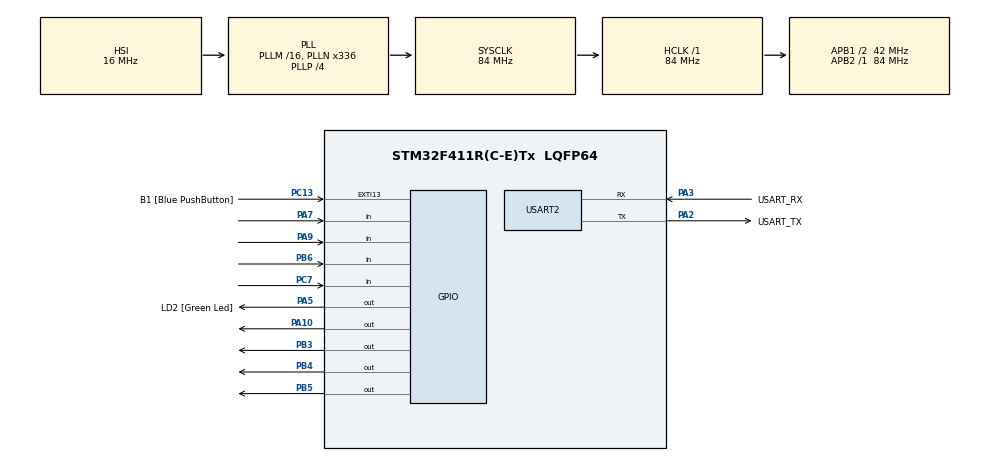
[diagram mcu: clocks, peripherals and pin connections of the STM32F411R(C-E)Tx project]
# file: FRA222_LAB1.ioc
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Mcu.Family=STM32F4
Mcu.Name=STM32F411R(C-E)Tx
Mcu.Package=LQFP64
NVIC.PriorityGroup=NVIC_PRIORITYGROUP_0
PA10.GPIO_ModeDefaultOutputPP=GPIO_MODE_OUTPUT_OD
PA10.GPIO_PuPd=GPIO_NOPULL
PA10.PinState=GPIO_PIN_SET
PA10.Signal=GPIO_Output
PA13.GPIO_Label=TMS
PA13.Mode=Serial_Wire
PA13.Signal=SYS_JTMS-SWDIO
PA14.GPIO_Label=TCK
PA14.Mode=Serial_Wire
PA14.Signal=SYS_JTCK-SWCLK
PA2.GPIO_Label=USART_TX
PA2.Mode=Asynchronous
PA2.Signal=USART2_TX
PA3.GPIO_Label=USART_RX
PA3.Mode=Asynchronous
PA3.Signal=USART2_RX
PA5.GPIO_Label=LD2 [Green Led]
PA5.Signal=GPIO_Output
PA7.GPIO_PuPd=GPIO_PULLUP
PA7.Signal=GPIO_Input
PA9.GPIO_PuPd=GPIO_PULLUP
PA9.Signal=GPIO_Input
PB3.GPIO_ModeDefaultOutputPP=GPIO_MODE_OUTPUT_OD
PB3.GPIO_PuPd=GPIO_NOPULL
PB3.PinState=GPIO_PIN_SET
PB3.Signal=GPIO_Output
PB4.GPIO_ModeDefaultOutputPP=GPIO_MODE_OUTPUT_OD
PB4.GPIO_PuPd=GPIO_NOPULL
PB4.PinState=GPIO_PIN_SET
PB4.Signal=GPIO_Output
PB5.GPIO_ModeDefaultOutputPP=GPIO_MODE_OUTPUT_OD
PB5.GPIO_PuPd=GPIO_NOPULL
PB5.PinState=GPIO_PIN_SET
PB5.Signal=GPIO_Output
PB6.GPIO_PuPd=GPIO_PULLUP
PB6.Signal=GPIO_Input
PC13-ANTI_TAMP.GPIO_Label=B1 [Blue PushButton]
PC13-ANTI_TAMP.GPIO_ModeDefaultEXTI=GPIO_MODE_IT_FALLING
PC13-ANTI_TAMP.Signal=GPXTI13
PC14-OSC32_IN.Mode=LSE-External-Oscillator
PC14-OSC32_IN.Signal=RCC_OSC32_IN
PC15-OSC32_OUT.Mode=LSE-External-Oscillator
PC15-OSC32_OUT.Signal=RCC_OSC32_OUT
PC7.GPIO_PuPd=GPIO_PULLUP
PC7.Signal=GPIO_Input
PH0\ -\ OSC_IN.Mode=HSE-External-Clock-Source
PH0\ -\ OSC_IN.Signal=RCC_OSC_IN
PH1\ -\ OSC_OUT.Mode=HSE-External-Clock-Source
PH1\ -\ OSC_OUT.Signal=RCC_OSC_OUT
ProjectManager.HeapSize=0x200
ProjectManager.StackSize=0x400
ProjectManager.TargetToolchain=STM32CubeIDE
RCC.48MHZClocksFreq_Value=84000000
RCC.AHBFreq_Value=84000000
RCC.APB1CLKDivider=RCC_HCLK_DIV2
RCC.APB1Freq_Value=42000000
RCC.APB1TimFreq_Value=84000000
RCC.APB2Freq_Value=84000000
RCC.APB2TimFreq_Value=84000000
RCC.CortexFreq_Value=84000000
RCC.FLatency-AdvancedSettings=FLASH_LATENCY_2
RCC.HCLKFreq_Value=84000000
RCC.HSE_VALUE=8000000
RCC.HSI_VALUE=16000000
RCC.PLLN=336
RCC.PLLP=RCC_PLLP_DIV4
RCC.SYSCLKFreq_VALUE=84000000
RCC.SYSCLKSource=RCC_SYSCLKSOURCE_PLLCLK
RCC.VCOOutputFreq_Value=336000000
USART2.VirtualMode=VM_ASYNC
board=NUCLEO-F411RE

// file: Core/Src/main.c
/* USER CODE BEGIN Header */
/**
  ******************************************************************************
  * @file           : main.c
  * @brief          : Main program body
  ******************************************************************************
  * @attention
  *
  * Copyright (c) 2023 STMicroelectronics.
  * All rights reserved.
  *
  * This software is licensed under terms that can be found in the LICENSE file
  * in the root directory of this software component.
  * If no LICENSE file comes with this software, it is provided AS-IS.
  *
  ******************************************************************************
  */
/* USER CODE END Header */
#include "main.h"
#include <string.h>

UART_HandleTypeDef huart2;

/* USER CODE BEGIN PV */
struct PortPin
{
	GPIO_TypeDef* PORT;
	uint16_t PIN;
};
struct PortPin R[4] =
{
	{GPIOA,GPIO_PIN_10},
	{GPIOB,GPIO_PIN_3},
	{GPIOB,GPIO_PIN_5},
	{GPIOB,GPIO_PIN_4}
};
struct PortPin L[4] =
{
	{GPIOA,GPIO_PIN_9},
	{GPIOC,GPIO_PIN_7},
	{GPIOB,GPIO_PIN_6},
	{GPIOA,GPIO_PIN_7}
};

struct _GPIOState
{
	GPIO_PinState Current;
	GPIO_PinState Last;
};

// declare variable
struct _GPIOState Button1[4];

uint16_t ButtonMatrix = 0;
char myID[] = "64340500006";
char studentID[] = "00000000000";
/* USER CODE END PV */

void SystemClock_Config(void);
static void MX_GPIO_Init(void);
static void MX_USART2_UART_Init(void);

/* USER CODE BEGIN 0 */
void ReadMatrixButton1Row();
void getNumpadInput();
void handleStudentID(char numID);
void clearStudentID();
void handleBackspace();
/* USER CODE END 0 */

int main(void)
{

  /* MCU Configuration--------------------------------------------------------*/

  /* Reset of all peripherals, Initializes the Flash interface and the Systick. */
  HAL_Init();

  /* Configure the system clock */
  SystemClock_Config();

  /* Initialize all configured peripherals */
  MX_GPIO_Init();
  MX_USART2_UART_Init();

  /* Infinite loop */
  while (1)
  {

    /* USER CODE BEGIN 3 */
	  static uint32_t timestamp = 0;
	  if(HAL_GetTick() >= timestamp)
	  {
		  timestamp = HAL_GetTick() + 50;
		  ReadMatrixButton1Row();

	  }
  }
  /* USER CODE END 3 */
}

void SystemClock_Config(void)
{
  RCC_OscInitTypeDef RCC_OscInitStruct = {0};
  RCC_ClkInitTypeDef RCC_ClkInitStruct = {0};

  /** Configure the main internal regulator output voltage
  */
  __HAL_RCC_PWR_CLK_ENABLE();
  __HAL_PWR_VOLTAGESCALING_CONFIG(PWR_REGULATOR_VOLTAGE_SCALE1);

  /** Initializes the RCC Oscillators according to the specified parameters
  * in the RCC_OscInitTypeDef structure.
  */
  RCC_OscInitStruct.OscillatorType = RCC_OSCILLATORTYPE_HSI;
  RCC_OscInitStruct.HSIState = RCC_HSI_ON;
  RCC_OscInitStruct.HSICalibrationValue = RCC_HSICALIBRATION_DEFAULT;
  RCC_OscInitStruct.PLL.PLLState = RCC_PLL_ON;
  RCC_OscInitStruct.PLL.PLLSource = RCC_PLLSOURCE_HSI;
  RCC_OscInitStruct.PLL.PLLM = 16;
  RCC_OscInitStruct.PLL.PLLN = 336;
  RCC_OscInitStruct.PLL.PLLP = RCC_PLLP_DIV4;
  RCC_OscInitStruct.PLL.PLLQ = 4;
  if (HAL_RCC_OscConfig(&RCC_OscInitStruct) != HAL_OK)
  {
    Error_Handler();
  }

  /** Initializes the CPU, AHB and APB buses clocks
  */
  RCC_ClkInitStruct.ClockType = RCC_CLOCKTYPE_HCLK|RCC_CLOCKTYPE_SYSCLK
                              |RCC_CLOCKTYPE_PCLK1|RCC_CLOCKTYPE_PCLK2;
  RCC_ClkInitStruct.SYSCLKSource = RCC_SYSCLKSOURCE_PLLCLK;
  RCC_ClkInitStruct.AHBCLKDivider = RCC_SYSCLK_DIV1;
  RCC_ClkInitStruct.APB1CLKDivider = RCC_HCLK_DIV2;
  RCC_ClkInitStruct.APB2CLKDivider = RCC_HCLK_DIV1;

  if (HAL_RCC_ClockConfig(&RCC_ClkInitStruct, FLASH_LATENCY_2) != HAL_OK)
  {
    Error_Handler();
  }
}

static void MX_USART2_UART_Init(void)
{

  huart2.Instance = USART2;
  huart2.Init.BaudRate = 115200;
  huart2.Init.WordLength = UART_WORDLENGTH_8B;
  huart2.Init.StopBits = UART_STOPBITS_1;
  huart2.Init.Parity = UART_PARITY_NONE;
  huart2.Init.Mode = UART_MODE_TX_RX;
  huart2.Init.HwFlowCtl = UART_HWCONTROL_NONE;
  huart2.Init.OverSampling = UART_OVERSAMPLING_16;
  if (HAL_UART_Init(&huart2) != HAL_OK)
  {
    Error_Handler();
  }

}

static void MX_GPIO_Init(void)
{
  GPIO_InitTypeDef GPIO_InitStruct = {0};

  /* GPIO Ports Clock Enable */
  __HAL_RCC_GPIOC_CLK_ENABLE();
  __HAL_RCC_GPIOH_CLK_ENABLE();
  __HAL_RCC_GPIOA_CLK_ENABLE();
  __HAL_RCC_GPIOB_CLK_ENABLE();

  /*Configure GPIO pin Output Level */
  HAL_GPIO_WritePin(LD2_GPIO_Port, LD2_Pin, GPIO_PIN_RESET);

  /*Configure GPIO pin Output Level */
  HAL_GPIO_WritePin(GPIOA, GPIO_PIN_10, GPIO_PIN_SET);

  /*Configure GPIO pin Output Level */
  HAL_GPIO_WritePin(GPIOB, GPIO_PIN_3|GPIO_PIN_4|GPIO_PIN_5, GPIO_PIN_SET);

  /*Configure GPIO pin : B1_Pin */
  GPIO_InitStruct.Pin = B1_Pin;
  GPIO_InitStruct.Mode = GPIO_MODE_IT_FALLING;
  GPIO_InitStruct.Pull = GPIO_NOPULL;
  HAL_GPIO_Init(B1_GPIO_Port, &GPIO_InitStruct);

  /*Configure GPIO pin : LD2_Pin */
  GPIO_InitStruct.Pin = LD2_Pin;
  GPIO_InitStruct.Mode = GPIO_MODE_OUTPUT_PP;
  GPIO_InitStruct.Pull = GPIO_NOPULL;
  GPIO_InitStruct.Speed = GPIO_SPEED_FREQ_LOW;
  HAL_GPIO_Init(LD2_GPIO_Port, &GPIO_InitStruct);

  /*Configure GPIO pins : PA7 PA9 */
  GPIO_InitStruct.Pin = GPIO_PIN_7|GPIO_PIN_9;
  GPIO_InitStruct.Mode = GPIO_MODE_INPUT;
  GPIO_InitStruct.Pull = GPIO_PULLUP;
  HAL_GPIO_Init(GPIOA, &GPIO_InitStruct);

  /*Configure GPIO pin : PC7 */
  GPIO_InitStruct.Pin = GPIO_PIN_7;
  GPIO_InitStruct.Mode = GPIO_MODE_INPUT;
  GPIO_InitStruct.Pull = GPIO_PULLUP;
  HAL_GPIO_Init(GPIOC, &GPIO_InitStruct);

  /*Configure GPIO pin : PA10 */
  GPIO_InitStruct.Pin = GPIO_PIN_10;
  GPIO_InitStruct.Mode = GPIO_MODE_OUTPUT_OD;
  GPIO_InitStruct.Pull = GPIO_NOPULL;
  GPIO_InitStruct.Speed = GPIO_SPEED_FREQ_LOW;
  HAL_GPIO_Init(GPIOA, &GPIO_InitStruct);

  /*Configure GPIO pins : PB3 PB4 PB5 */
  GPIO_InitStruct.Pin = GPIO_PIN_3|GPIO_PIN_4|GPIO_PIN_5;
  GPIO_InitStruct.Mode = GPIO_MODE_OUTPUT_OD;
  GPIO_InitStruct.Pull = GPIO_NOPULL;
  GPIO_InitStruct.Speed = GPIO_SPEED_FREQ_LOW;
  HAL_GPIO_Init(GPIOB, &GPIO_InitStruct);

  /*Configure GPIO pin : PB6 */
  GPIO_InitStruct.Pin = GPIO_PIN_6;
  GPIO_InitStruct.Mode = GPIO_MODE_INPUT;
  GPIO_InitStruct.Pull = GPIO_PULLUP;
  HAL_GPIO_Init(GPIOB, &GPIO_InitStruct);

}

/* USER CODE BEGIN 4 */
void ReadMatrixButton1Row()
{
	static uint8_t X = 0;
	register int i;
	for (i = 0; i < 4; i++)
	{
		Button1[i].Current = HAL_GPIO_ReadPin(L[i].PORT, L[i].PIN);
		if(HAL_GPIO_ReadPin(L[i].PORT, L[i].PIN) == 1)
		{
			ButtonMatrix &= ~(1<<(X*4 + i));
			//  x = 0 , i = 0 -> 0
		}
		else
		{
			ButtonMatrix |= 1<<(X*4+i);

			// detect button press by using falling edge detector
			if (Button1[i].Last == 1 && Button1[i].Current == 0)
			{
				// call function
				getNumpadInput();
			}

			// save GPIO Logic for next loop

		}
		Button1[i].Last = Button1[i].Current;
	}
	// SET RX
	HAL_GPIO_WritePin(R[X].PORT, R[X].PIN, 1);
	// RESET RX+1%4
	HAL_GPIO_WritePin(R[(X+1)%4].PORT, R[(X+1)%4].PIN, 0);
	X++;
	X%=4;
}

void getNumpadInput()
{
	switch(ButtonMatrix)
	{
	case 0b1:
		HAL_GPIO_WritePin(LD2_GPIO_Port, LD2_Pin, GPIO_PIN_RESET);
		handleStudentID('7');
		break;
	case 0b10:
		HAL_GPIO_WritePin(LD2_GPIO_Port, LD2_Pin, GPIO_PIN_RESET);
		handleStudentID('4');
		break;
	case 0b100:
		HAL_GPIO_WritePin(LD2_GPIO_Port, LD2_Pin, GPIO_PIN_RESET);
		handleStudentID('1');
		break;
	case 0b1000:
		HAL_GPIO_WritePin(LD2_GPIO_Port, LD2_Pin, GPIO_PIN_RESET);
		handleStudentID('0');
		break;
	case 0b10000:
		HAL_GPIO_WritePin(LD2_GPIO_Port, LD2_Pin, GPIO_PIN_RESET);
		handleStudentID('8');
		break;
	case 0b100000:
		HAL_GPIO_WritePin(LD2_GPIO_Port, LD2_Pin, GPIO_PIN_RESET);
		handleStudentID('5');
		break;
	case 0b1000000:
		HAL_GPIO_WritePin(LD2_GPIO_Port, LD2_Pin, GPIO_PIN_RESET);
		handleStudentID('2');
		break;
	case 0b100000000:
		HAL_GPIO_WritePin(LD2_GPIO_Port, LD2_Pin, GPIO_PIN_RESET);
		handleStudentID('9');
		break;
	case 0b1000000000:
		HAL_GPIO_WritePin(LD2_GPIO_Port, LD2_Pin, GPIO_PIN_RESET);
		handleStudentID('6');
		break;
	case 0b10000000000:
		HAL_GPIO_WritePin(LD2_GPIO_Port, LD2_Pin, GPIO_PIN_RESET);
		handleStudentID('3');
		break;
	case 0b1000000000000:
		HAL_GPIO_WritePin(LD2_GPIO_Port, LD2_Pin, GPIO_PIN_RESET);
		clearStudentID();
		break;
	case 0b10000000000000:
		HAL_GPIO_WritePin(LD2_GPIO_Port, LD2_Pin, GPIO_PIN_RESET);
		handleBackspace();
		break;
	case 0b1000000000000000:
		if (strcmp(studentID, myID) == 0)
		{
			HAL_GPIO_WritePin(LD2_GPIO_Port, LD2_Pin, GPIO_PIN_SET);
		}
		break;
	}
}

void handleStudentID(char numID)
{
	register int j;
	for (j = 0; j < 11; j++)
	{
		if (j == 10)
		{
			studentID[10] = numID;
		}
		else
		{
			studentID[j] = studentID[j + 1];
		}
	}

}

void clearStudentID()
{
	register int k;
	for (k = 0; k < 11; k++)
	{
		studentID[k] = '0';

	}
}

void handleBackspace()
{
	register int j;
	for (j = 0; j < 11; j++)
	{
		if (j == 10)
		{
			studentID[0] = '0';
		}
		else
		{
			studentID[11-j-1] = studentID[11-j-2];
		}
	}

}
/* USER CODE END 4 */

void Error_Handler(void)
{
  __disable_irq();
  while (1)
  {
  }
}
